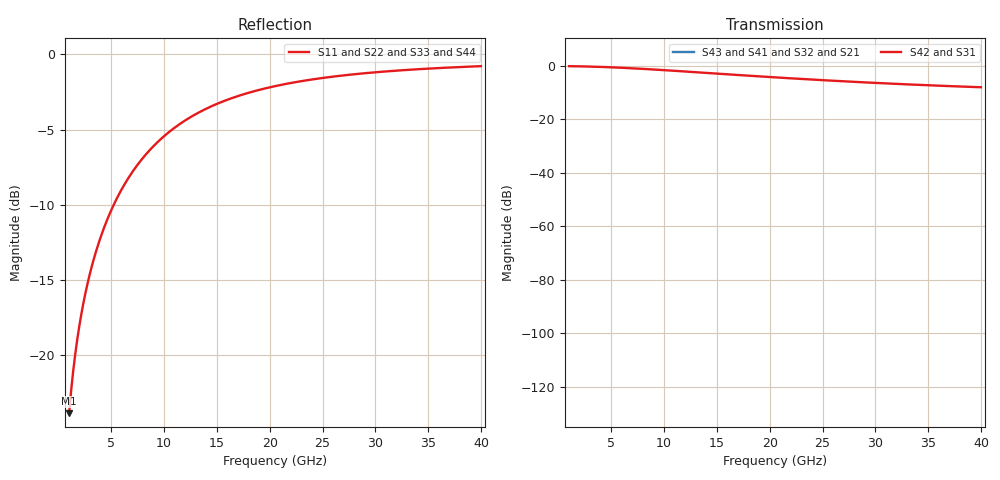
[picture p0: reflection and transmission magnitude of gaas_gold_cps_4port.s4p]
# Hz S RI R 50
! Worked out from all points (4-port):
!   201 points, 1 GHz to 40 GHz, reference 50 ohm
!   strongest paths, dB at 1 GHz, 10.75 GHz, 20.5 GHz, 30.25 GHz, 40 GHz:
!     S42: 0.0, -1.7, -4.2, -6.4, -7.9
!     S31: 0.0, -1.7, -4.2, -6.4, -7.9
!     S43: -, -, -, -, -
!     S41: -, -, -, -, -
!     S32: -, -, -, -, -
!     S21: -, -, -, -, -
!   lowest |S11| = -23.9 dB at 1 GHz (marker M1), VSWR 1.14, Z = 50.3 + j6.42 ohm
!   |S11| at or under -10 dB: start of sweep to 5.229 GHz
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1e9  0.00662 0.0636  0 0  0.9934 -0.067  0 0
     0 0  0.00662 0.0636  0 0  0.9934 -0.067
     0.9934 -0.067  0 0  0.00662 0.0636  0 0
     0 0  0.9934 -0.067  0 0  0.00662 0.0636
2.17e9  0.0233 0.1356  0 0  0.9767 -0.1428  0 0
        0 0  0.0233 0.1356  0 0  0.9767 -0.1428
        0.9767 -0.1428  0 0  0.0233 0.1356  0 0
        0 0  0.9767 -0.1428  0 0  0.0233 0.1356
3.925e9  0.0665 0.2339  0 0  0.9334 -0.247  0 0
         0 0  0.0665 0.2339  0 0  0.9334 -0.247
         0.9334 -0.247  0 0  0.0665 0.2339  0 0
         0 0  0.9334 -0.247  0 0  0.0665 0.2339
6.655e9  0.165 0.3533  0 0  0.8348 -0.3756  0 0
         0 0  0.165 0.3533  0 0  0.8348 -0.3756
         0.8348 -0.3756  0 0  0.165 0.3533  0 0
         0 0  0.8348 -0.3756  0 0  0.165 0.3533
1.0165e10  0.3129 0.4412  0 0  0.6865 -0.4753  0 0
           0 0  0.3129 0.4412  0 0  0.6865 -0.4753
           0.6865 -0.4753  0 0  0.3129 0.4412  0 0
           0 0  0.6865 -0.4753  0 0  0.3129 0.4412
2.2645e10  0.6953 0.4174  0 0  0.3018 -0.4943  0 0
           0 0  0.6953 0.4174  0 0  0.3018 -0.4943
           0.3018 -0.4943  0 0  0.6953 0.4174  0 0
           0 0  0.3018 -0.4943  0 0  0.6953 0.4174
4e10  0.8805 0.2448  0 0  0.1094 -0.386  0 0
      0 0  0.8805 0.2448  0 0  0.1094 -0.386
      0.1094 -0.386  0 0  0.8805 0.2448  0 0
      0 0  0.1094 -0.386  0 0  0.8805 0.2448
